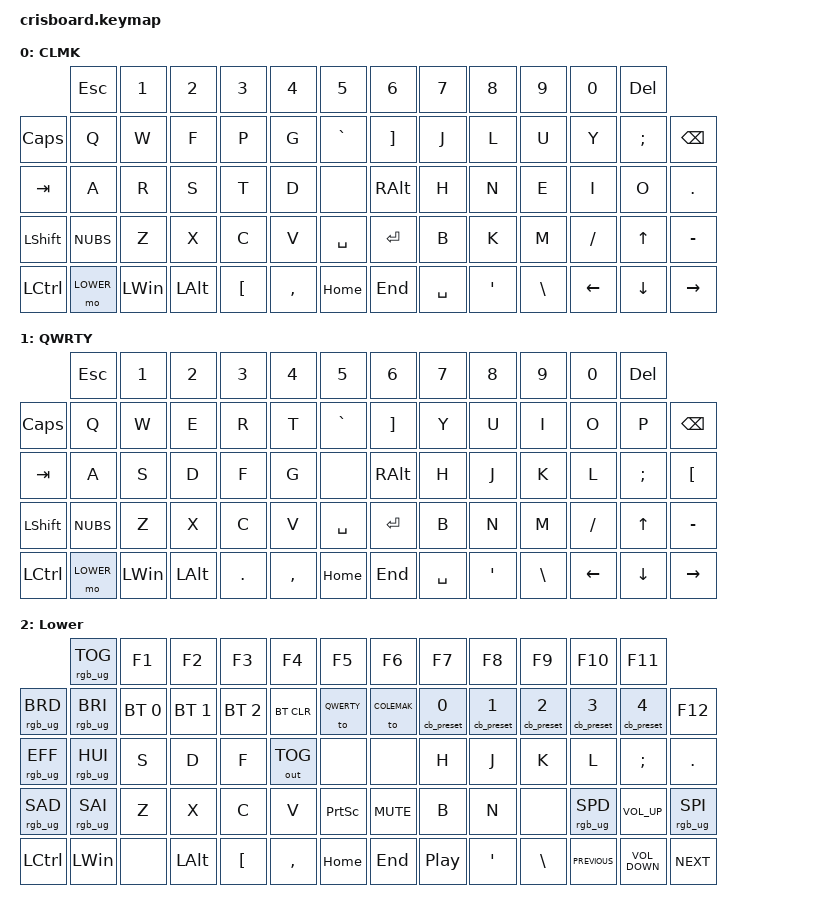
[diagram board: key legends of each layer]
#include <behaviors.dtsi>
#include <dt-bindings/zmk/keys.h>
#include <dt-bindings/zmk/bt.h>
#include <dt-bindings/zmk/outputs.h>
#include <dt-bindings/zmk/rgb.h>

#define COLEMAK 0
#define QWERTY 1
#define LOWER 2

/ {
    behaviors {
        cb_preset: crisboard_rgb_preset {
            compatible = "zmk,behavior-crisboard-rgb-preset";
            label = "CB_RGB_PRESET";
            #binding-cells = <1>;
        };
    };
    keymap {
        compatible = "zmk,keymap";
        default_layer {
            label = "CLMK";
            bindings = <
                &kp ESC  &kp N1  &kp N2  &kp N3  &kp N4  &kp N5  &kp N6  &kp N7  &kp N8  &kp N9  &kp N0  &kp DEL
                &kp CAPS  &kp Q  &kp W  &kp F  &kp P  &kp G  &kp GRAVE  &kp RBKT  &kp J  &kp L  &kp U  &kp Y  &kp SEMI  &kp BSPC
                &kp TAB  &kp A  &kp R  &kp S  &kp T  &kp D  &none  &kp RALT  &kp H  &kp N  &kp E  &kp I  &kp O  &kp DOT
                &kp LSHFT  &kp NUBS  &kp Z  &kp X  &kp C  &kp V  &kp SPACE  &kp ENTER  &kp B  &kp K  &kp M  &kp FSLH  &kp UP  &kp MINUS
                &kp LCTRL  &mo LOWER  &kp LWIN  &kp LALT  &kp LBKT  &kp COMMA  &kp HOME  &kp END  &kp SPACE  &kp APOS  &kp BSLH  &kp LEFT  &kp DOWN  &kp RIGHT
            >;
        };
        rise_layer {
            label = "QWRTY";
            bindings = <
                &kp ESC  &kp N1  &kp N2  &kp N3  &kp N4  &kp N5  &kp N6  &kp N7  &kp N8  &kp N9  &kp N0  &kp DEL
                &kp CAPS  &kp Q  &kp W  &kp E  &kp R  &kp T  &kp GRAVE  &kp RBKT  &kp Y  &kp U  &kp I  &kp O  &kp P  &kp BSPC
                &kp TAB  &kp A  &kp S  &kp D  &kp F  &kp G  &none  &kp RALT  &kp H  &kp J  &kp K  &kp L  &kp SEMI  &kp LBKT
                &kp LSHFT  &kp NUBS  &kp Z  &kp X  &kp C  &kp V  &kp SPACE  &kp ENTER  &kp B  &kp N  &kp M  &kp FSLH  &kp UP  &kp MINUS
                &kp LCTRL  &mo LOWER  &kp LWIN  &kp LALT  &kp DOT  &kp COMMA  &kp HOME  &kp END  &kp SPACE  &kp APOS  &kp BSLH  &kp LEFT  &kp DOWN  &kp RIGHT
            >;
        };
        lower_layer {
            label = "Lower";
            bindings = <
                &rgb_ug RGB_TOG  &kp F1  &kp F2  &kp F3  &kp F4  &kp F5  &kp F6  &kp F7  &kp F8  &kp F9  &kp F10  &kp F11
                &rgb_ug RGB_BRD  &rgb_ug RGB_BRI  &bt BT_SEL 0  &bt BT_SEL 1  &bt BT_SEL 2  &bt BT_CLR  &to QWERTY  &to COLEMAK  &cb_preset 0  &cb_preset 1  &cb_preset 2  &cb_preset 3  &cb_preset 4  &kp F12
                &rgb_ug RGB_EFF  &rgb_ug RGB_HUI  &kp S  &kp D  &kp F  &out OUT_TOG  &none  &none  &kp H  &kp J  &kp K  &kp L  &kp SEMI  &kp DOT
                &rgb_ug RGB_SAD  &rgb_ug RGB_SAI  &kp Z  &kp X  &kp C  &kp V  &kp PRINTSCREEN  &kp C_MUTE  &kp B  &kp N  &none  &rgb_ug RGB_SPD  &kp C_VOLUME_UP  &rgb_ug RGB_SPI
                &kp LCTRL  &kp LWIN  &none  &kp LALT  &kp LBKT  &kp COMMA  &kp HOME  &kp END  &kp C_PLAY_PAUSE  &kp APOS  &kp BSLH  &kp C_PREVIOUS  &kp C_VOLUME_DOWN  &kp C_NEXT
            >;
        };
    };
};
